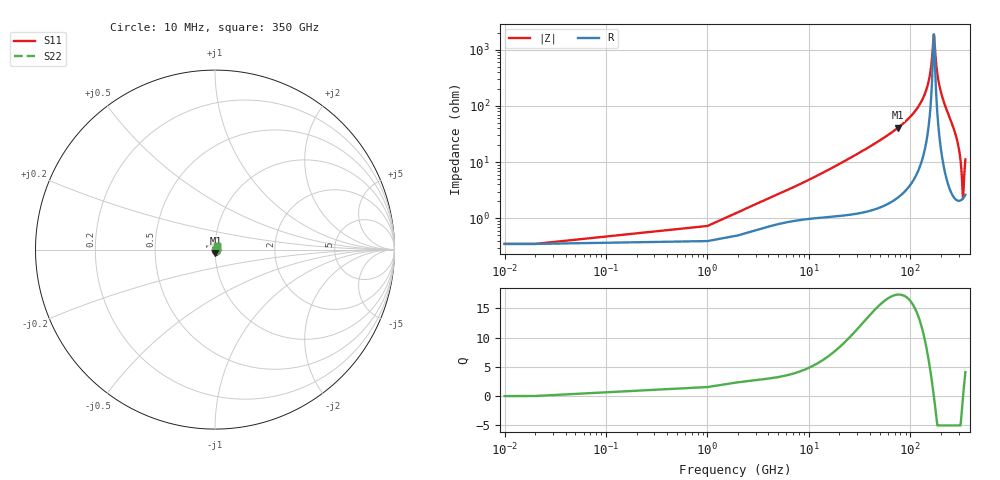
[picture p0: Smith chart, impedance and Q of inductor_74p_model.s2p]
! Inductor model fitted by inductor_fit.py 1.2 from inductor_74p.s2p
#  Hz  S  RI  R  50
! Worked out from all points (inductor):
!   352 points, 10 MHz to 350 GHz, reference 50 ohm
!   read as 1/Y11, port 2 shorted: L = 81 pH near 4 GHz
!   highest Q = 17.4 at 76 GHz (marker M1), where L = 85.7 pH
!   self-resonance near 171.1 GHz
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1e7  0.00349 1.53e-05  0.9965 -0.000109  0.9965 -0.000109  0.00349 1.53e-05
3e9  0.00616 0.00252  0.9934 -0.0307  0.9934 -0.0307  0.00616 0.00252
4e9  0.00716 0.00232  0.9921 -0.0399  0.9921 -0.0399  0.00716 0.00232
8e9  0.00919 0.00032  0.988 -0.0755  0.988 -0.0755  0.00919 0.00032
3.3e10  0.00905 -0.00922  0.943 -0.2956  0.943 -0.2956  0.00905 -0.00922
5.9e10  0.00567 -0.0163  0.8446 -0.508  0.8446 -0.508  0.00567 -0.0163
7.6e10  0.00257 -0.0195  0.7544 -0.6312  0.7544 -0.6312  0.00257 -0.0195
1.17e11  -0.00403 -0.0207  0.4686 -0.8593  0.4686 -0.8593  -0.00403 -0.0207
1.47e11  -0.00415 -0.0175  0.2162 -0.9515  0.2162 -0.9515  -0.00415 -0.0175
1.76e11  0.000762 -0.0151  -0.0444 -0.9721  -0.0444 -0.9721  0.000762 -0.0151
1.94e11  0.00537 -0.0153  -0.2066 -0.9494  -0.2066 -0.9494  0.00537 -0.0153
2.34e11  0.014 -0.0216  -0.5422 -0.8023  -0.5422 -0.8023  0.014 -0.0216
2.65e11  0.0138 -0.0271  -0.7536 -0.604  -0.7536 -0.604  0.0138 -0.0271
2.92e11  0.00856 -0.0255  -0.8844 -0.3824  -0.8844 -0.3824  0.00856 -0.0255
3.06e11  0.00543 -0.0201  -0.9283 -0.2538  -0.9283 -0.2538  0.00543 -0.0201
3.16e11  0.00389 -0.0141  -0.9484 -0.1578  -0.9484 -0.1578  0.00389 -0.0141
3.22e11  0.00349 -0.00952  -0.9558 -0.0989  -0.9558 -0.0989  0.00349 -0.00952
3.3e11  0.00384 -0.00236  -0.9599 -0.0193  -0.9599 -0.0193  0.00384 -0.00236
3.32e11  0.00411 -0.000386  -0.9599 0.000778  -0.9599 0.000778  0.00411 -0.000386
3.34e11  0.00447 0.00166  -0.9594 0.0208  -0.9594 0.0208  0.00447 0.00166
3.42e11  0.00688 0.0105  -0.9533 0.1013  -0.9533 0.1013  0.00688 0.0105
3.5e11  0.011 0.0201  -0.9401 0.1817  -0.9401 0.1817  0.011 0.0201
